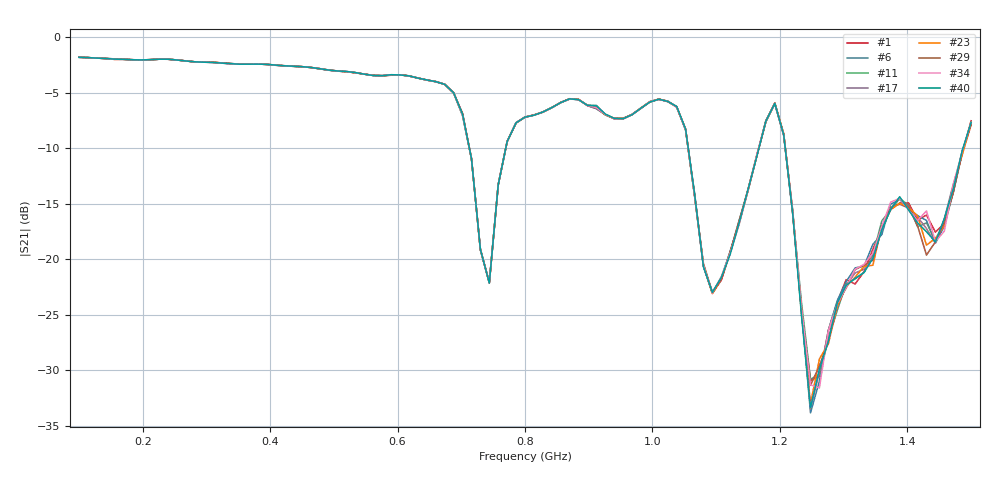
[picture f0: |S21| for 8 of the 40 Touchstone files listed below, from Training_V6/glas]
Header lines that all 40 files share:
! NanoVNA-App
! Start: 100MHz Stop: 1,5GHz Points: 101
! S-Parameter data: F S11 S21 S12 S22
# Hz S RI R 50
!  Frequency  S11_Real  S11_Imag  S21_Real  S21_Imag  S12_Real  S12_Imag  S22_Real  S22_Imag
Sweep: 100 MHz to 1.5 GHz
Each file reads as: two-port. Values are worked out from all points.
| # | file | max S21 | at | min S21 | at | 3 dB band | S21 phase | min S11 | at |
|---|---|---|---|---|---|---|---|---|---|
| 1 | glas (201).s2p | -1.80 dB | 100 MHz | -30.9 dB | 1.248 GHz | 100 MHz-674 MHz | 90 deg at 800 MHz | -42.1 dB | 492 MHz |
| 2 | glas (202).s2p | -1.80 dB | 100 MHz | -29.7 dB | 1.248 GHz | 100 MHz-674 MHz | 90 deg at 800 MHz | -41.6 dB | 492 MHz |
| 3 | glas (203).s2p | -1.80 dB | 100 MHz | -31.2 dB | 1.248 GHz | 100 MHz-674 MHz | 90 deg at 800 MHz | -41.9 dB | 492 MHz |
| 4 | glas (204).s2p | -1.80 dB | 100 MHz | -31.4 dB | 1.248 GHz | 100 MHz-674 MHz | 90 deg at 800 MHz | -42.2 dB | 492 MHz |
| 5 | glas (205).s2p | -1.80 dB | 100 MHz | -33.7 dB | 1.248 GHz | 100 MHz-674 MHz | 90 deg at 800 MHz | -41.8 dB | 492 MHz |
| 6 | glas (206).s2p | -1.80 dB | 100 MHz | -33.8 dB | 1.248 GHz | 100 MHz-674 MHz | 90 deg at 800 MHz | -42.0 dB | 492 MHz |
| 7 | glas (207).s2p | -1.80 dB | 100 MHz | -32.7 dB | 1.248 GHz | 100 MHz-674 MHz | 90 deg at 800 MHz | -41.4 dB | 492 MHz |
| 8 | glas (208).s2p | -1.80 dB | 100 MHz | -31.4 dB | 1.248 GHz | 100 MHz-674 MHz | 90 deg at 800 MHz | -41.5 dB | 492 MHz |
| 9 | glas (209).s2p | -1.80 dB | 100 MHz | -32.5 dB | 1.248 GHz | 100 MHz-674 MHz | 90 deg at 800 MHz | -41.7 dB | 492 MHz |
| 10 | glas (210).s2p | -1.80 dB | 100 MHz | -30.3 dB | 1.248 GHz | 100 MHz-674 MHz | 90 deg at 800 MHz | -41.6 dB | 492 MHz |
| 11 | glas (211).s2p | -1.80 dB | 100 MHz | -30.8 dB | 1.248 GHz | 100 MHz-674 MHz | 90 deg at 800 MHz | -41.8 dB | 492 MHz |
| 12 | glas (212).s2p | -1.80 dB | 100 MHz | -33.0 dB | 1.248 GHz | 100 MHz-674 MHz | 90 deg at 800 MHz | -41.7 dB | 492 MHz |
| 13 | glas (213).s2p | -1.80 dB | 100 MHz | -30.8 dB | 1.248 GHz | 100 MHz-674 MHz | 90 deg at 800 MHz | -41.9 dB | 492 MHz |
| 14 | glas (214).s2p | -1.80 dB | 100 MHz | -33.3 dB | 1.248 GHz | 100 MHz-674 MHz | 89 deg at 800 MHz | -41.7 dB | 492 MHz |
| 15 | glas (215).s2p | -1.80 dB | 100 MHz | -32.9 dB | 1.248 GHz | 100 MHz-674 MHz | 90 deg at 800 MHz | -42.0 dB | 492 MHz |
| 16 | glas (216).s2p | -1.80 dB | 100 MHz | -31.5 dB | 1.248 GHz | 100 MHz-674 MHz | 90 deg at 800 MHz | -41.5 dB | 492 MHz |
| 17 | glas (217).s2p | -1.80 dB | 100 MHz | -33.5 dB | 1.248 GHz | 100 MHz-674 MHz | 90 deg at 800 MHz | -41.7 dB | 492 MHz |
| 18 | glas (218).s2p | -1.80 dB | 100 MHz | -31.8 dB | 1.248 GHz | 100 MHz-674 MHz | 90 deg at 800 MHz | -42.0 dB | 492 MHz |
| 19 | glas (219).s2p | -1.80 dB | 100 MHz | -31.8 dB | 1.248 GHz | 100 MHz-674 MHz | 90 deg at 800 MHz | -42.0 dB | 492 MHz |
| 20 | glas (220).s2p | -1.80 dB | 100 MHz | -30.7 dB | 1.248 GHz | 100 MHz-674 MHz | 90 deg at 800 MHz | -42.0 dB | 492 MHz |
| 21 | glas (221).s2p | -1.80 dB | 100 MHz | -32.5 dB | 1.248 GHz | 100 MHz-674 MHz | 90 deg at 800 MHz | -41.6 dB | 492 MHz |
| 22 | glas (222).s2p | -1.80 dB | 100 MHz | -32.3 dB | 1.248 GHz | 100 MHz-674 MHz | 89 deg at 800 MHz | -41.6 dB | 492 MHz |
| 23 | glas (223).s2p | -1.80 dB | 100 MHz | -33.0 dB | 1.248 GHz | 100 MHz-674 MHz | 90 deg at 800 MHz | -41.8 dB | 492 MHz |
| 24 | glas (224).s2p | -1.80 dB | 100 MHz | -31.1 dB | 1.248 GHz | 100 MHz-674 MHz | 90 deg at 800 MHz | -42.0 dB | 492 MHz |
| 25 | glas (225).s2p | -1.80 dB | 100 MHz | -31.9 dB | 1.248 GHz | 100 MHz-674 MHz | 89 deg at 800 MHz | -41.9 dB | 492 MHz |
| 26 | glas (226).s2p | -1.80 dB | 100 MHz | -32.4 dB | 1.248 GHz | 100 MHz-674 MHz | 90 deg at 800 MHz | -41.6 dB | 492 MHz |
| 27 | glas (227).s2p | -1.80 dB | 100 MHz | -31.9 dB | 1.248 GHz | 100 MHz-674 MHz | 90 deg at 800 MHz | -41.9 dB | 492 MHz |
| 28 | glas (228).s2p | -1.80 dB | 100 MHz | -31.6 dB | 1.248 GHz | 100 MHz-674 MHz | 90 deg at 800 MHz | -41.7 dB | 492 MHz |
| 29 | glas (229).s2p | -1.80 dB | 100 MHz | -31.3 dB | 1.248 GHz | 100 MHz-674 MHz | 90 deg at 800 MHz | -41.7 dB | 492 MHz |
| 30 | glas (230).s2p | -1.80 dB | 100 MHz | -31.9 dB | 1.248 GHz | 100 MHz-674 MHz | 90 deg at 800 MHz | -41.8 dB | 492 MHz |
| 31 | glas (231).s2p | -1.80 dB | 100 MHz | -32.9 dB | 1.248 GHz | 100 MHz-674 MHz | 90 deg at 800 MHz | -41.2 dB | 492 MHz |
| 32 | glas (232).s2p | -1.80 dB | 100 MHz | -29.4 dB | 1.248 GHz | 100 MHz-674 MHz | 90 deg at 800 MHz | -41.5 dB | 492 MHz |
| 33 | glas (233).s2p | -1.80 dB | 100 MHz | -31.8 dB | 1.248 GHz | 100 MHz-674 MHz | 90 deg at 800 MHz | -41.7 dB | 492 MHz |
| 34 | glas (234).s2p | -1.80 dB | 100 MHz | -31.6 dB | 1.262 GHz | 100 MHz-674 MHz | 90 deg at 800 MHz | -41.5 dB | 492 MHz |
| 35 | glas (235).s2p | -1.80 dB | 100 MHz | -31.5 dB | 1.248 GHz | 100 MHz-674 MHz | 90 deg at 800 MHz | -41.8 dB | 492 MHz |
| 36 | glas (236).s2p | -1.80 dB | 100 MHz | -32.5 dB | 1.248 GHz | 100 MHz-674 MHz | 90 deg at 800 MHz | -41.8 dB | 492 MHz |
| 37 | glas (237).s2p | -1.80 dB | 100 MHz | -33.5 dB | 1.248 GHz | 100 MHz-674 MHz | 90 deg at 800 MHz | -41.9 dB | 492 MHz |
| 38 | glas (238).s2p | -1.80 dB | 100 MHz | -32.4 dB | 1.248 GHz | 100 MHz-674 MHz | 90 deg at 800 MHz | -41.8 dB | 492 MHz |
| 39 | glas (239).s2p | -1.80 dB | 100 MHz | -30.7 dB | 1.262 GHz | 100 MHz-674 MHz | 90 deg at 800 MHz | -41.5 dB | 492 MHz |
| 40 | glas (240).s2p | -1.80 dB | 100 MHz | -33.3 dB | 1.248 GHz | 100 MHz-674 MHz | 90 deg at 800 MHz | -42.0 dB | 492 MHz |
